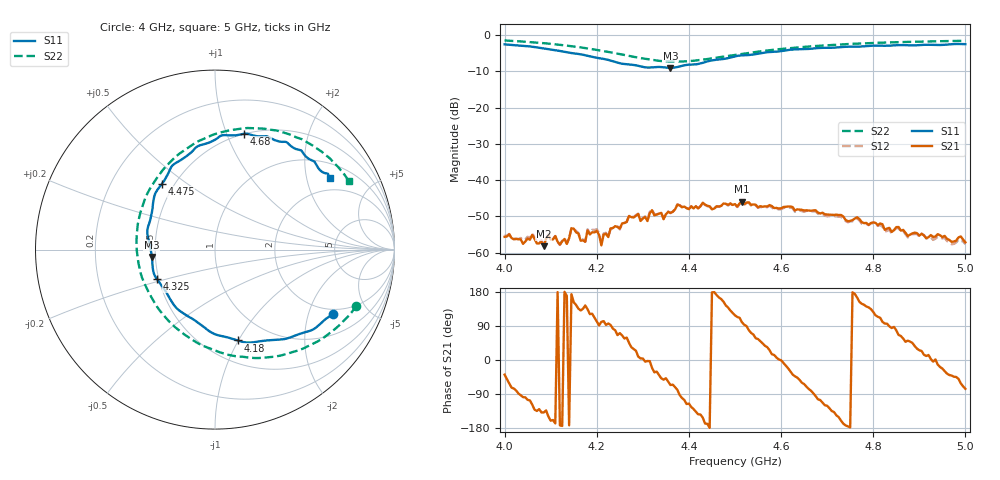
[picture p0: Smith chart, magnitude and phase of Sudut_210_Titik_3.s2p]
# Hz S RI R 50
! CMT, C1220, 16058040, 17.2.0/1
! Date: 15/08/2018 12:40:19
! Data: Format (Calibration Info)
! Freq  S11: Re/Im (F2)  S21: Re/Im (F2)  S12: Re/Im (F2)  S22: Re/Im (F2)
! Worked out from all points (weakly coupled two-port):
!   201 points, 4 GHz to 5 GHz, reference 50 ohm
!   highest |S21| = -45.95 dB at 4.515 GHz (marker M1); lowest = -58.2 dB at 4.085 GHz (marker M2)
!   lowest |S11| = -9.0 dB at 4.36 GHz (marker M3), VSWR 2.10, Z = 23.9 - j2.22 ohm
!   |S11| at or under -10 dB: nowhere
!   |S22| runs from -7.3 to -1.4 dB; largest |S21 - S12| = 0.00023
!   S11 on the Smith chart (normalised r, x): 4 GHz: 1.77, -2.90; 4.18 GHz: 0.71, -0.99; 4.325 GHz: 0.49, -0.18; 4.475 GHz: 0.43, +0.40; 4.68 GHz: 0.50, +1.15; 5 GHz: 1.48, +2.75
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4e9  0.656 -0.3607  0.00129 -0.00103  0.00138 -0.00101  0.7874 -0.3135
4.06e9  0.5266 -0.4533  -0.000825 -0.00156  -0.000797 -0.00167  0.6667 -0.4438
4.085e9  0.4539 -0.4765  -0.000919 -0.000815  -0.000948 -0.000892  0.6004 -0.4943
4.095e9  0.4202 -0.489  -0.0015 -0.000895  -0.00156 -0.0009  0.5721 -0.5115
4.135e9  0.2873 -0.5062  -0.0013 0.000251  -0.00134 0.000126  0.4384 -0.5689
4.145e9  0.2479 -0.5109  -0.00215 0.000244  -0.00216 0.000179  0.4009 -0.5807
4.17e9  0.1576 -0.5152  -0.00104 0.00104  -0.0011 0.00104  0.306 -0.5993
4.18e9  0.1254 -0.5059  -0.0014 0.00146  -0.00152 0.00144  0.2638 -0.6026
4.2e9  0.0545 -0.4857  -0.000402 0.00195  -0.000421 0.00207  0.1786 -0.6004
4.21e9  0.0169 -0.4771  -0.000233 0.00124  -0.000211 0.00136  0.1355 -0.5959
4.215e9  -0.000638 -0.4714  -0.000386 0.00174  -0.000373 0.00181  0.1123 -0.5935
4.27e9  -0.1864 -0.3481  0.00226 0.00228  0.00226 0.00231  -0.1243 -0.504
4.325e9  -0.3236 -0.1644  0.00276 -0.00176  0.00279 -0.00187  -0.3236 -0.317
4.335e9  -0.3408 -0.1324  0.00266 -0.00219  0.00267 -0.0022  -0.3496 -0.2735
4.36e9  -0.3516 -0.0406  0.00144 -0.00323  0.00138 -0.00323  -0.4063 -0.1573
4.475e9  -0.2966 0.3654  -0.00428 0.00209  -0.00418 0.00218  -0.3389 0.3753
4.5e9  -0.2512 0.4454  -0.00218 0.00414  -0.00208 0.00403  -0.2789 0.4572
4.515e9  -0.2297 0.4752  -0.000848 0.00497  -0.000768 0.00488  -0.2378 0.5001
4.67e9  0.1435 0.6416  0.000146 -0.00383  3.45e-05 -0.00371  0.2047 0.6769
4.68e9  0.1624 0.6456  -0.000842 -0.00347  -0.000827 -0.00336  0.2313 0.6757
4.835e9  0.449 0.561  4.68e-05 0.0022  -1.11e-05 0.00208  0.5499 0.5761
5e9  0.638 0.4014  0.000336 -0.00135  0.000319 -0.00127  0.7461 0.3828
